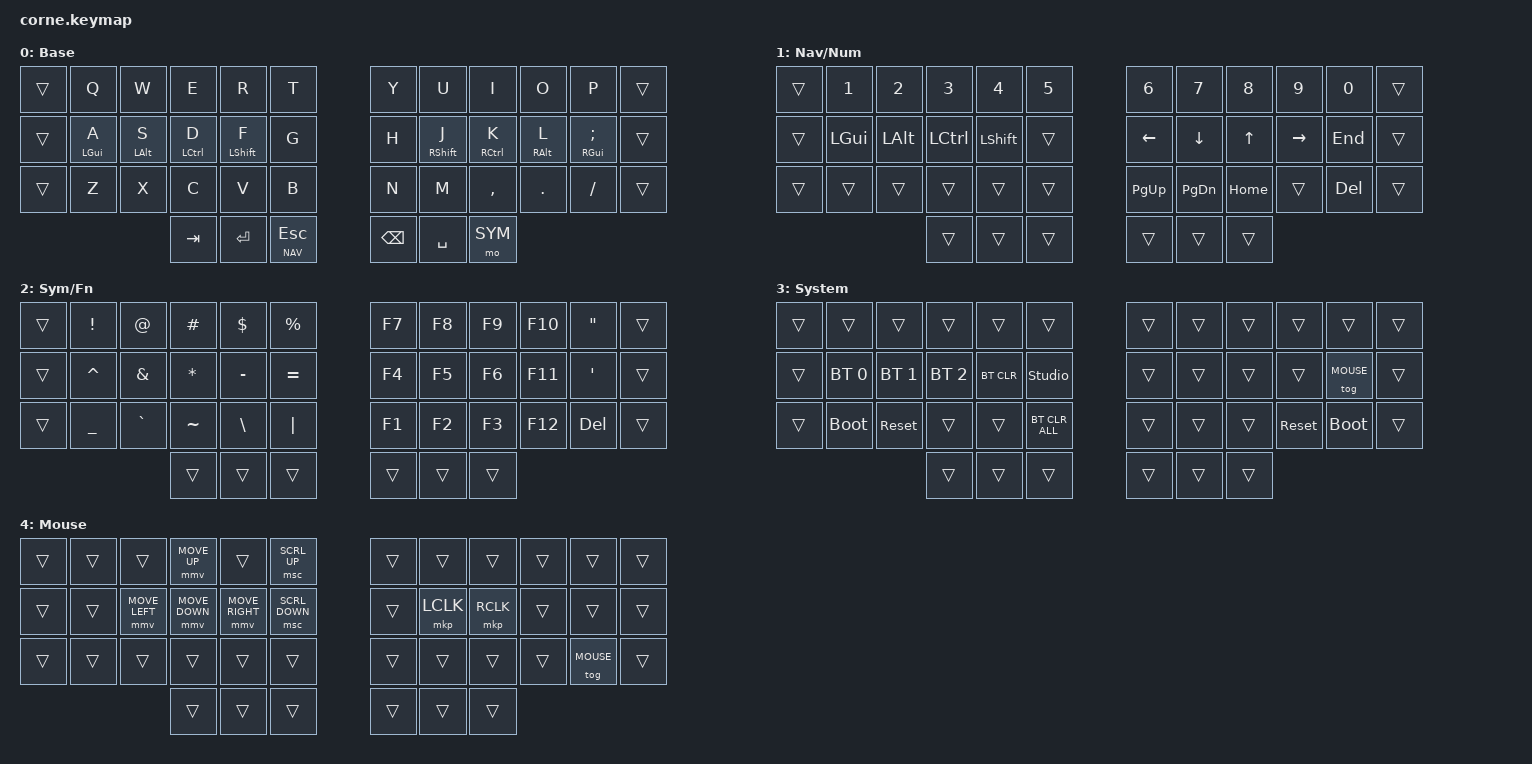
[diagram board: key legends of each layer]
/*
 * Corne Mini (3x5+3, ZMK) — transition map ported from the 6-column Vial Corne.
 * Target: mbastar/zmk-config-cornemini2 → config/corne.keymap
 *
 * Ported as-is from the Vial board: number/nav layer on the left thumb, symbol/F-key
 * layer on the right thumb, all six bracket + utility combos, mod order GUI/ALT/CTRL/SHFT.
 * New: home-row mods (the old thumb-row CTL/GUI/SHFT keys do not exist here).
 */

#include <behaviors.dtsi>
#include <dt-bindings/zmk/bt.h>
#include <dt-bindings/zmk/keys.h>
#include <dt-bindings/zmk/pointing.h>

#define DEF   0
#define NAV   1
#define SYM   2
#define ADJ   3
#define MOUSE 4

/* 42-key matrix; outer columns (0, 11, 12, 23, 24, 35) are unpopulated on the Mini.
   Left:  0-5   12-17  24-29  thumbs 36 37 38
   Right: 6-11  18-23  30-35  thumbs 39 40 41 */
#define LEFT_KEYS   0 1 2 3 4 5 12 13 14 15 16 17 24 25 26 27 28 29
#define RIGHT_KEYS  6 7 8 9 10 11 18 19 20 21 22 23 30 31 32 33 34 35
#define LEFT_THUMB  36 37 38
#define RIGHT_THUMB 39 40 41

/ {
    behaviors {
        /* Home-row mods. Cross-hand only: a left-hand mod fires only if a RIGHT-hand
           key follows, which is what stops "df" turning into ctrl+d. */
        hml: home_row_mod_left {
            compatible = "zmk,behavior-hold-tap";
            #binding-cells = <2>;
            flavor = "balanced";
            tapping-term-ms = <280>;
            quick-tap-ms = <175>;
            require-prior-idle-ms = <150>;
            bindings = <&kp>, <&kp>;
            hold-trigger-key-positions = <RIGHT_KEYS RIGHT_THUMB>;
            hold-trigger-on-release;
        };

        hmr: home_row_mod_right {
            compatible = "zmk,behavior-hold-tap";
            #binding-cells = <2>;
            flavor = "balanced";
            tapping-term-ms = <280>;
            quick-tap-ms = <175>;
            require-prior-idle-ms = <150>;
            bindings = <&kp>, <&kp>;
            hold-trigger-key-positions = <LEFT_KEYS LEFT_THUMB>;
            hold-trigger-on-release;
        };

        caps: caps {
            compatible = "zmk,behavior-caps-word";
            #binding-cells = <0>;
            continue-list = <MINUS UNDERSCORE BACKSPACE>;
        };
    };

    conditional_layers {
        compatible = "zmk,conditional-layers";
        tri_layer {
            if-layers = <NAV SYM>;
            then-layer = <ADJ>;
        };
    };

    combos {
        compatible = "zmk,combos";

        /* --- ported 1:1 from the Vial Corne (all positions survive the lost column) --- */
        screenshot { bindings = <&kp LG(LS(N4))>; key-positions = <1 25>;  layers = <DEF>; }; /* Q + Z */
        dictation  { bindings = <&kp RGUI>;       key-positions = <32 33>; layers = <DEF>; }; /* , + . */
        lpar       { bindings = <&kp LPAR>;       key-positions = <4 5>;   layers = <DEF>; }; /* R + T */
        rpar       { bindings = <&kp RPAR>;       key-positions = <6 7>;   layers = <DEF>; }; /* Y + U */
        lbkt       { bindings = <&kp LBKT>;       key-positions = <16 17>; layers = <DEF>; }; /* F + G */
        rbkt       { bindings = <&kp RBKT>;       key-positions = <18 19>; layers = <DEF>; }; /* H + J */
        lbrc       { bindings = <&kp LBRC>;       key-positions = <28 29>; layers = <DEF>; }; /* V + B */
        rbrc       { bindings = <&kp RBRC>;       key-positions = <30 31>; layers = <DEF>; }; /* N + M */

        /* --- new: replaces keys the Mini has no room for --- */
        sqt        { bindings = <&kp SQT>;  key-positions = <20 21>; };  /* K + L  → ' ; hold shift for " */
        capsword   { bindings = <&caps>;    key-positions = <16 19>; };  /* F + J  → caps word (was SHFT)   */
        del        { bindings = <&kp DEL>;  key-positions = <14 26>; };  /* S + X  → DEL (was bottom left)  */
    };

    keymap {
        compatible = "zmk,keymap";

        DEF {
            display-name = "Base";
            // |  Q  |  W  |  E  |  R  |  T  |   |  Y  |  U  |  I  |  O  |  P  |
            // |  A  |  S  |  D  |  F  |  G  |   |  H  |  J  |  K  |  L  |  ;  |   home-row mods
            // |  Z  |  X  |  C  |  V  |  B  |   |  N  |  M  |  ,  |  .  |  /  |
            //         | TAB | ENT | ESC/NAV |   | BSPC | SPC | SYM |
            bindings = <
&trans  &kp Q        &kp W        &kp E         &kp R         &kp T         &kp Y      &kp U          &kp I          &kp O         &kp P            &trans
&trans  &hml LGUI A  &hml LALT S  &hml LCTRL D  &hml LSHFT F  &kp G         &kp H      &hmr RSHFT J   &hmr RCTRL K   &hmr RALT L   &hmr RGUI SEMI   &trans
&trans  &kp Z        &kp X        &kp C         &kp V         &kp B         &kp N      &kp M          &kp COMMA      &kp DOT       &kp FSLH         &trans
                                  &kp TAB       &kp RET       &lt NAV ESC   &kp BSPC   &kp SPACE      &mo SYM
            >;

            /* FALLBACK ONLY -- if home-row mods genuinely fight you, swap this row in:
&trans  &kp A  &kp S  &kp D  &kp F  &kp G   &kp H  &kp J  &kp K  &kp L  &kp SEMI  &trans
               ...but Shift then has nowhere to live (no pinky column, no thumb row on
               this board), so you must ALSO move Shift onto a thumb in the same edit:
                       &mt LSHFT TAB   &kp RET   &lt NAV ESC
               Capitals via a layer hold is not a workable typing experience. */
        };

        NAV {
            display-name = "Nav/Num";
            // |  1  |  2  |  3  |  4  |  5  |   |  6  |  7   |  8   |  9  |  0  |
            // | GUI | ALT | CTL | SFT |     |   |  <- |  v   |  ^   |  -> | END |
            // |     |     |     |     |     |   | PGUP| PGDN | HOME |     | DEL |
            bindings = <
&trans  &kp N1    &kp N2    &kp N3     &kp N4     &kp N5   &kp N6      &kp N7      &kp N8     &kp N9        &kp N0    &trans
&trans  &kp LGUI  &kp LALT  &kp LCTRL  &kp LSHFT  &trans   &kp LEFT    &kp DOWN    &kp UP     &kp RIGHT     &kp END   &trans
&trans  &trans    &trans    &trans     &trans     &trans   &kp PG_UP   &kp PG_DN   &kp HOME   &trans        &kp DEL   &trans
                            &trans     &trans     &trans   &trans      &trans      &trans
            >;
        };

        SYM {
            display-name = "Sym/Fn";
            // |  !  |  @  |  #  |  $  |  %  |   | F7 | F8 | F9 | F10 |  "  |
            // |  ^  |  &  |  *  |  -  |  =  |   | F4 | F5 | F6 | F11 |  '  |
            // |  _  |  `  |  ~  |  \  | "|" |   | F1 | F2 | F3 | F12 | DEL |
            bindings = <
&trans  &kp EXCL   &kp AT     &kp HASH   &kp DLLR   &kp PRCNT  &kp F7  &kp F8  &kp F9  &kp F10  &kp DQT  &trans
&trans  &kp CARET  &kp AMPS   &kp ASTRK  &kp MINUS   &kp EQUAL  &kp F4  &kp F5  &kp F6  &kp F11  &kp SQT  &trans
&trans  &kp UNDER  &kp GRAVE  &kp TILDE  &kp BSLH    &kp PIPE   &kp F1  &kp F2  &kp F3  &kp F12  &kp DEL  &trans
                              &trans     &trans      &trans     &trans  &trans  &trans
            >;
        };

        ADJ {
            display-name = "System";
            // reached by holding NAV + SYM together (conditional layer)
            // |     |     |     |     |     |   |     |     |     |     |     |
            // | BT0 | BT1 | BT2 |BTCLR| STUDIO |  |     |     |     |     |MOUSE|
            // | BOOT|RESET|     |     |BTCLRA| |     |     |     |RESET| BOOT |
            //
            // &bootloader / &sys_reset are SOURCE-SPECIFIC on a split: each one only
            // affects the half it is physically pressed on. Both halves need their own.
            // (Combos are the exception -- a combo always fires on the central/left half.)
            bindings = <
&trans  &trans        &trans        &trans        &trans      &trans           &trans  &trans  &trans  &trans  &trans       &trans
&trans  &bt BT_SEL 0  &bt BT_SEL 1  &bt BT_SEL 2  &bt BT_CLR  &studio_unlock   &trans  &trans  &trans  &trans  &tog MOUSE   &trans
&trans  &bootloader   &sys_reset    &trans        &trans      &bt BT_CLR_ALL   &trans  &trans  &trans  &sys_reset  &bootloader  &trans
                                    &trans        &trans      &trans           &trans  &trans  &trans
            >;
        };

        MOUSE {
            display-name = "Mouse";
            bindings = <
&trans  &trans  &trans          &mmv MOVE_UP    &trans           &msc SCRL_UP    &trans  &trans     &trans     &trans  &trans      &trans
&trans  &trans  &mmv MOVE_LEFT  &mmv MOVE_DOWN  &mmv MOVE_RIGHT  &msc SCRL_DOWN  &trans  &mkp LCLK  &mkp RCLK  &trans  &trans      &trans
&trans  &trans  &trans          &trans          &trans           &trans          &trans  &trans     &trans     &trans  &tog MOUSE  &trans
                                &trans          &trans           &trans          &trans  &trans     &trans
            >;
        };

        /* Empty slots so ZMK Studio can hand out extra layers with no rebuild.
           Delete these two lines if the v0.3 build rejects them. */
        extra1 { status = "reserved"; };
        extra2 { status = "reserved"; };
    };
};
